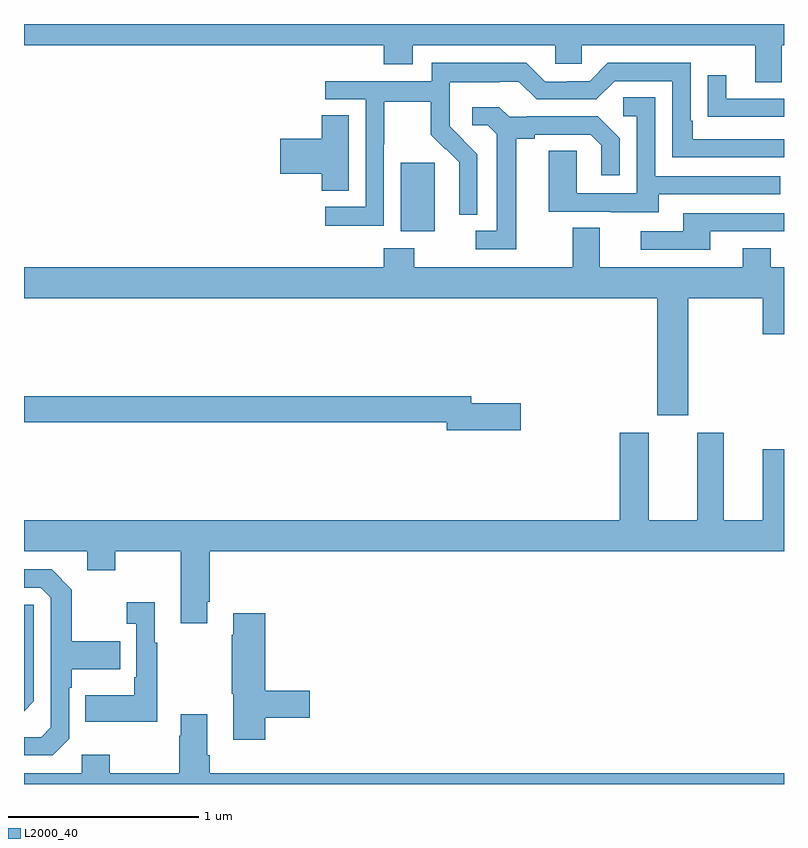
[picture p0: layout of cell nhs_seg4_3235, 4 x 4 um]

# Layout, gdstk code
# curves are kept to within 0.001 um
import gdstk
lib = gdstk.Library(unit=1e-6, precision=1e-09)
def R(c, l, rs):  # rectangles x0, y0, x1, y1
    for r in rs: c.add(gdstk.rectangle(r[:2], r[2:], *l))
def P(c, l, *ps):  # polygons
    for p in ps: c.add(gdstk.Polygon(p, *l))
L2000_40 = (2000, 40)

nhs_seg4_3235 = lib.new_cell('nhs_seg4_3235')
R(nhs_seg4_3235, L2000_40, [(282.983,827.81,283.162,828.171)])
P(nhs_seg4_3235, L2000_40, [(284.989,828.788),(285,828.788),(285,828.9),(281,828.9),(281,828.788),(282.893,828.788),(282.893,828.689),(283.045,828.689),(283.045,828.788),(283.797,828.788),(283.797,828.69),(283.935,828.69),(283.935,828.788),(284.849,828.788),(284.849,828.594),(284.989,828.594)],
  [(282.894,828.268),(282.897,828.268),(282.897,828.492),(283.141,828.492),(283.141,828.317),(283.218,828.24),(283.221,828.243),(283.292,828.173),(283.292,828.05),(283.29,828.05),(283.29,827.896),(283.386,827.896),(283.386,828.214),(283.24,828.362),(283.24,828.459),(283.242,828.459),(283.242,828.593),(283.505,828.593),(283.505,828.597),(283.605,828.597),(283.698,828.504),(284.013,828.504),(284.109,828.6),(284.412,828.6),(284.412,828.198),(285,828.198),(285,828.294),(284.521,828.294),(284.521,828.391),(284.508,828.391),(284.508,828.696),(284.073,828.696),(283.977,828.6),(283.859,828.6),(283.859,828.597),(283.743,828.597),(283.643,828.697),(283.146,828.697),(283.146,828.6),(282.585,828.6),(282.585,828.504),(282.798,828.504),(282.798,827.937),(282.585,827.937),(282.585,827.839),(282.894,827.839)],
  [(285,828.507),(284.695,828.507),(284.695,828.631),(284.599,828.631),(284.599,828.412),(284.701,828.412),(284.701,828.411),(285,828.411)],
  [(284.341,828.003),(284.981,828.003),(284.981,828.099),(284.322,828.099),(284.322,828.515),(284.154,828.515),(284.154,828.414),(284.226,828.414),(284.226,828.009),(283.908,828.009),(283.908,828.233),(283.763,828.233),(283.763,827.913),(284.087,827.913),(284.087,827.909),(284.341,827.909)],
  [(283.591,828.296),(283.687,828.296),(283.687,828.318),(283.982,828.318),(284.039,828.261),(284.039,828.105),(284.136,828.105),(284.136,828.298),(284.02,828.414),(283.648,828.414),(283.648,828.411),(283.554,828.411),(283.502,828.463),(283.359,828.463),(283.359,828.366),(283.44,828.366),(283.487,828.319),(283.487,827.811),(283.377,827.811),(283.377,827.715),(283.591,827.715)],
  [(282.709,828.419),(282.566,828.419),(282.566,828.296),(282.348,828.296),(282.348,828.113),(282.566,828.113),(282.566,828.022),(282.709,828.022)],
  [(284.611,827.808),(285,827.808),(285,827.904),(284.471,827.904),(284.471,827.808),(284.247,827.808),(284.247,827.712),(284.611,827.712)],
  [(284.497,827.456),(284.888,827.456),(284.888,827.268),(285,827.268),(285,827.62),(284.931,827.62),(284.931,827.719),(284.783,827.719),(284.783,827.62),(284.029,827.62),(284.029,827.828),(283.889,827.828),(283.889,827.62),(283.053,827.62),(283.053,827.719),(282.893,827.719),(282.893,827.62),(281,827.62),(281,827.456),(284.333,827.456),(284.333,826.842),(284.497,826.842)],
  [(283.615,826.904),(283.354,826.904),(283.354,826.94),(281,826.94),(281,826.804),(283.226,826.804),(283.226,826.762),(283.615,826.762)],
  [(281.965,825.859),(281.978,825.859),(281.978,826.124),(285,826.124),(285,826.663),(284.888,826.663),(284.888,826.288),(284.683,826.288),(284.683,826.75),(284.543,826.75),(284.543,826.288),(284.287,826.288),(284.287,826.75),(284.135,826.75),(284.135,826.288),(281,826.288),(281,826.124),(281.333,826.124),(281.333,826.025),(281.481,826.025),(281.481,826.124),(281.825,826.124),(281.825,825.747),(281.965,825.747)],
  [(281.238,825.138),(281.238,825.407),(281.251,825.407),(281.251,825.503),(281.507,825.503),(281.507,825.651),(281.251,825.651),(281.251,825.923),(281.145,826.029),(281,826.029),(281,825.933),(281.088,825.933),(281.142,825.879),(281.142,825.198),(281.091,825.147),(281,825.147),(281,825.051),(281.151,825.051)],
  [(281.701,825.643),(281.689,825.643),(281.689,825.856),(281.541,825.856),(281.541,825.743),(281.592,825.743),(281.592,825.463),(281.58,825.463),(281.58,825.367),(281.323,825.367),(281.323,825.227),(281.701,825.227)],
  [(281.052,825.336),(281.052,825.843),(281,825.843),(281,825.284)],
  [(282.269,825.25),(282.505,825.25),(282.505,825.392),(282.269,825.392),(282.269,825.799),(282.101,825.799),(282.101,825.686),(282.094,825.686),(282.094,825.375),(282.101,825.375),(282.101,825.132),(282.269,825.132)],
  [(285,824.956),(281.978,824.956),(281.978,825.052),(281.965,825.052),(281.965,825.268),(281.825,825.268),(281.825,825.155),(281.818,825.155),(281.818,824.956),(281.451,824.956),(281.451,825.055),(281.304,825.055),(281.304,824.956),(281,824.956),(281,824.9),(285,824.9)])

lib.write_gds('nhs_seg4_3235.gds')
